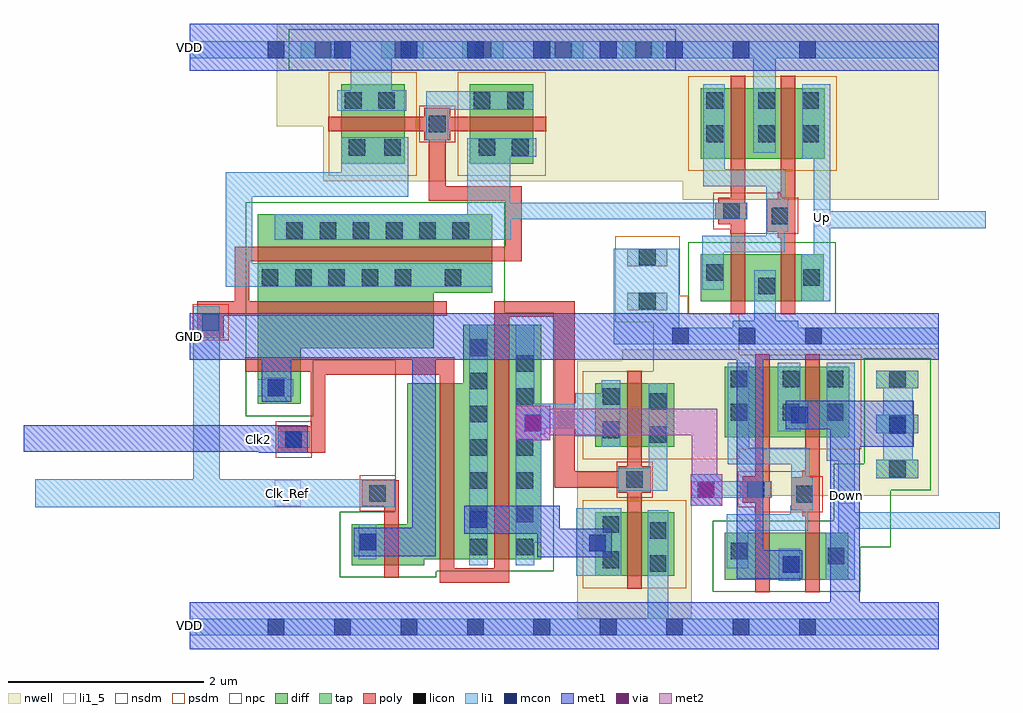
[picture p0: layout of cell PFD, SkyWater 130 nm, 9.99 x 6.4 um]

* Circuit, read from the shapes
.subckt PFD Clk2 Clk_Ref Down GND Up VDD
XM1 n1 Clk2 GND GND sky130_fd_pr__nfet_01v8 w=0.44 l=0.15
XM2 n2 Clk_Ref n1 GND sky130_fd_pr__nfet_01v8 w=1.8 l=0.15
XM3 n3 Clk_Ref n2 GND sky130_fd_pr__nfet_01v8 w=2.4 l=0.15
XM4 n4 Clk_Ref GND GND sky130_fd_pr__nfet_01v8 w=0.42 l=0.15
XM5 n5 Clk2 n4 GND sky130_fd_pr__nfet_01v8 w=1.8 l=0.15
XM6 n6 Clk2 n5 GND sky130_fd_pr__nfet_01v8 w=2.4 l=0.15
XM7 GND n3 n7 GND sky130_fd_pr__nfet_01v8 w=0.48 l=0.15
XM8 GND n6 n8 GND sky130_fd_pr__nfet_01v8 w=0.48 l=0.15
XM9 Up n7 GND GND sky130_fd_pr__nfet_01v8 w=0.48 l=0.15
XM10 Down n8 GND GND sky130_fd_pr__nfet_01v8 w=0.48 l=0.15
XM11 VDD Clk_Ref n2 VDD sky130_fd_pr__pfet_01v8 w=0.65 l=0.15
XM12 Clk_Ref Clk_Ref n3 VDD sky130_fd_pr__pfet_01v8 w=0.65 l=0.15
XM13 VDD Clk2 n5 VDD sky130_fd_pr__pfet_01v8 w=0.65 l=0.15
XM14 Clk2 Clk2 n6 VDD sky130_fd_pr__pfet_01v8 w=0.65 l=0.15
XM15 VDD n3 n7 VDD sky130_fd_pr__pfet_01v8 w=0.72 l=0.15
XM16 VDD n6 n8 VDD sky130_fd_pr__pfet_01v8 w=0.72 l=0.15
XM17 Up n7 VDD VDD sky130_fd_pr__pfet_01v8 w=0.72 l=0.15
XM18 Down n8 VDD VDD sky130_fd_pr__pfet_01v8 w=0.72 l=0.15
.ends

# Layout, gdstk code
import gdstk
lib = gdstk.Library(unit=1e-6, precision=1e-09)
def R(c, l, rs):  # rectangles x0, y0, x1, y1
    for r in rs: c.add(gdstk.rectangle(r[:2], r[2:], *l))
def A(c, l, x, y, w, h, nx, ny, dx, dy):  # array of equal rectangles
    R(c, l, [(x+i*dx, y+j*dy, x+i*dx+w, y+j*dy+h) for i in range(nx) for j in range(ny)])
nwell = (64, 20)
diff = (65, 20)
tap = (65, 44)
poly = (66, 20)
licon = (66, 44)
li1_5 = (67, 5)
li1 = (67, 20)
mcon = (67, 44)
met1 = (68, 20)
via = (68, 44)
met2 = (69, 20)
nsdm = (93, 44)
psdm = (94, 20)
npc = (95, 20)

pfd = lib.new_cell('PFD')
R(pfd, nwell, [(3.97,0.31,5.14,1.57), (3.97,1.57,7.67,2.95), (4.43,2.95,7.67,3.07), (6.77,3.07,7.67,3.08), (5.05,4.6,7.67,4.79), (1.37,4.79,7.67,5.35), (0.89,5.35,7.67,6.4)])
R(pfd, diff, [(5.48,0.71,6.74,1.19), (4.15,0.75,4.96,1.4), (1.66,0.86,2.4,0.92), (1.66,0.92,3.6,1.28), (2.23,1.28,3.6,2.72), (4.15,2.07,4.96,2.72), (5.48,2.17,6.75,2.89), (0.7,2.51,1.14,3.08), (2.8,2.72,3.6,3.32), (0.7,3.08,2.5,3.65), (5.23,3.56,6.49,4.04), (0.7,3.65,3.1,4.45), (1.55,4.97,2.2,5.78), (2.87,4.97,3.52,5.78), (5.23,5.02,6.5,5.74)])
R(pfd, tap, [(7.03,1.75,7.46,1.94), (7.03,2.21,7.46,2.4), (7.03,2.67,7.46,2.85), (4.48,3.47,4.89,3.65), (4.48,3.92,4.89,4.1), (1.14,6.05,1.57,6.22), (1.96,6.05,2.39,6.22), (2.79,6.05,3.21,6.22), (3.59,6.05,4.03,6.22), (4.43,6.05,4.85,6.22)])
R(pfd, poly, [(5.79,0.58,5.94,1.5), (6.3,0.58,6.45,1.36), (4.48,0.62,4.63,1.6), (2.56,0.68,3.27,0.83), (1.99,0.73,2.14,1.46), (2.56,0.83,2.71,2.81), (3.12,0.83,3.27,3.4), (6.27,1.36,6.45,1.42), (6.16,1.42,6.45,1.76), (1.76,1.46,2.14,1.73), (5.66,1.5,5.94,1.55), (5.63,1.55,5.95,1.72), (4.39,1.6,4.72,1.65), (3.74,1.65,4.72,1.82), (5.66,1.72,5.94,1.77), (6.27,1.76,6.45,1.83), (5.79,1.77,5.94,3.02), (3.74,1.82,3.94,3.4), (4.39,1.82,4.72,1.87), (6.3,1.83,6.45,3.02), (4.48,1.87,4.63,2.85), (0.9,2.01,1.39,2.28), (1.24,2.28,1.39,2.81), (1.24,2.81,2.71,2.84), (0.57,2.84,2.71,2.99), (0.08,3.18,0.35,3.41), (3.12,3.4,3.94,3.56), (0.08,3.41,2.63,3.56), (5.54,3.43,5.69,4.35), (6.05,3.43,6.2,4.21), (0.46,3.56,0.61,3.97), (0.46,3.97,3.4,4.12), (3.23,4.12,3.4,4.59), (6.02,4.21,6.2,4.27), (5.91,4.27,6.2,4.61), (5.41,4.35,5.69,4.4), (5.38,4.4,5.7,4.57), (5.41,4.57,5.69,4.62), (2.45,4.59,3.4,4.74), (6.02,4.61,6.2,4.68), (5.54,4.62,5.69,5.87), (6.05,4.68,6.2,5.87), (2.45,4.74,2.62,5.21), (2.4,5.21,2.67,5.3), (1.42,5.3,3.65,5.45), (2.4,5.45,2.67,5.54)])
A(pfd, licon, 2.87, 0.96, 0.17, 0.17, 1, 7, 0, 0.34)
A(pfd, licon, 3.35, 0.96, 0.17, 0.17, 1, 4, 0, 0.34)
A(pfd, licon, 7.16, 1.76, 0.17, 0.17, 1, 3, 0, 0.46)
A(pfd, licon, 0.74, 3.72, 0.17, 0.17, 5, 1, 0.34, 0)
A(pfd, licon, 0.99, 4.2, 0.17, 0.17, 6, 1, 0.34, 0)
A(pfd, licon, 1.28, 6.05, 0.17, 0.17, 5, 1, 0.82, 0)
R(pfd, licon, [(6.07,0.78,6.24,0.95), (4.71,0.79,4.88,0.96), (4.23,0.83,4.4,1), (6.53,0.87,6.7,1.04), (5.54,0.92,5.71,1.09), (1.74,1.01,1.91,1.18), (4.71,1.13,4.88,1.3), (4.23,1.19,4.4,1.36), (6.21,1.5,6.38,1.67), (1.84,1.51,2.01,1.68), (5.71,1.55,5.88,1.72), (4.47,1.65,4.64,1.82), (0.98,2.06,1.15,2.23), (4.71,2.11,4.88,2.28), (4.23,2.16,4.4,2.33), (5.54,2.34,5.71,2.51), (6.07,2.34,6.24,2.51), (6.52,2.34,6.69,2.51), (4.71,2.45,4.88,2.62), (3.35,2.5,3.52,2.67), (4.23,2.5,4.4,2.67), (0.8,2.59,0.97,2.76), (5.54,2.68,5.71,2.85), (6.07,2.68,6.24,2.85), (6.52,2.68,6.69,2.85), (3.35,2.84,3.52,3.01), (0.13,3.26,0.3,3.43), (4.6,3.48,4.77,3.65), (5.82,3.63,5.99,3.8), (2.61,3.72,2.78,3.89), (6.28,3.72,6.45,3.89), (5.29,3.77,5.46,3.94), (4.6,3.93,4.77,4.1), (5.96,4.35,6.13,4.52), (5.46,4.4,5.63,4.57), (1.63,5.05,1.8,5.22), (1.99,5.05,2.16,5.22), (2.96,5.05,3.13,5.22), (3.3,5.05,3.47,5.22), (5.29,5.19,5.46,5.36), (5.82,5.19,5.99,5.36), (6.27,5.19,6.44,5.36), (2.45,5.29,2.62,5.46), (1.59,5.53,1.76,5.7), (1.93,5.53,2.1,5.7), (2.91,5.53,3.08,5.7), (3.25,5.53,3.42,5.7), (5.29,5.53,5.46,5.7), (5.82,5.53,5.99,5.7), (6.27,5.53,6.44,5.7)])
R(pfd, li1_5, [(0.87,1.46,1.14,1.73), (6.64,1.49,6.81,1.66), (6.39,4.33,6.56,4.5)])
R(pfd, li1, [(0,0.14,7.67,0.31), (4.69,0.31,4.9,1.42), (6.03,0.7,6.25,1.03), (6.51,0.71,6.81,1.19), (3.96,0.75,4.42,1.44), (5.5,0.83,5.72,1.21), (2.86,0.86,3.05,3.32), (3.34,0.86,3.53,1.09), (1.73,0.92,1.91,1.28), (3.34,1.09,3.6,2.2), (6.64,1.19,6.81,1.23), (5.5,1.21,6.33,1.38), (6.64,1.23,8.29,1.4), (6.15,1.38,6.33,1.42), (6.64,1.4,6.81,1.93), (6.15,1.42,6.38,1.47), (-1.58,1.45,2.1,1.74), (6.16,1.47,6.38,1.76), (5.14,1.55,5.96,1.72), (4.39,1.62,4.89,1.85), (0.04,1.74,0.31,3.51), (7.03,1.75,7.46,1.94), (6.16,1.76,6.35,1.89), (4.7,1.85,4.89,2.72), (5.51,1.89,6.35,2.06), (6.52,1.93,6.81,2.93), (7.1,1.94,7.4,2.21), (0.9,2.06,1.23,2.23), (5.51,2.06,5.73,2.93), (4.22,2.07,4.41,2.18), (3.95,2.18,4.41,2.26), (3.34,2.2,3.64,2.26), (7.03,2.21,7.46,2.4), (6.02,2.23,6.25,2.25), (6.02,2.25,6.33,2.54), (3.34,2.26,4.41,2.51), (7.1,2.4,7.4,2.67), (0.78,2.51,0.99,2.59), (3.34,2.51,3.53,3.32), (3.95,2.51,4.41,2.62), (6.02,2.54,6.25,2.93), (0.7,2.59,1.06,2.76), (4.22,2.62,4.41,2.75), (7.03,2.67,7.46,2.85), (0.78,2.76,0.99,2.78), (4.34,3.12,7.67,3.29), (4.34,3.29,5.01,4.1), (5.56,3.29,6.23,3.36), (5.78,3.36,6,3.88), (6.26,3.56,6.56,4.04), (5.25,3.68,5.47,4.06), (0.37,3.71,3.1,3.95), (0.37,3.95,0.64,4.63), (6.39,4.04,6.56,4.31), (5.25,4.06,6.09,4.23), (0.87,4.19,3.29,4.4), (5.9,4.23,6.09,4.27), (5.9,4.27,6.13,4.61), (6.39,4.31,8.15,4.48), (0.87,4.4,5.71,4.45), (2.84,4.45,5.71,4.57), (6.39,4.48,6.56,5.02), (2.84,4.57,3.28,5.04), (5.9,4.61,6.1,4.74), (0.37,4.63,2.24,4.88), (5.26,4.74,6.1,4.91), (1.55,4.88,2.24,5.24), (5.26,4.91,5.48,5.78), (6.27,5.02,6.56,5.78), (2.84,5.04,3.55,5.23), (5.77,5.08,6,6.05), (2.42,5.21,2.65,5.52), (1.51,5.51,2.22,5.72), (2.42,5.52,3.52,5.71), (1.65,5.72,2.07,6.05), (0,6.05,7.67,6.22)])
A(pfd, mcon, 0.8, 0.14, 0.17, 0.17, 9, 2, 0.68, 5.91)
A(pfd, mcon, 4.94, 3.12, 0.17, 0.17, 3, 1, 0.68, 0)
R(pfd, mcon, [(6.07,0.78,6.24,0.95), (4.09,1,4.26,1.17), (1.74,1.01,1.91,1.18), (2.87,1.24,3.04,1.41), (5.2,1.55,5.37,1.72), (0.98,2.06,1.15,2.23), (7.16,2.205,7.33,2.375), (3.43,2.23,3.6,2.4), (6.16,2.31,6.33,2.48), (0.8,2.59,0.97,2.76)])
A(pfd, met1, 0, 0, 7.67, 0.48, 1, 3, 0, 2.96)
R(pfd, met1, [(6.56,0.48,6.86,2.07), (5.6,0.72,6.27,1.01), (3.56,0.94,4.32,1.18), (1.68,0.95,2.52,1.24), (5.6,1.01,5.87,2.96), (2.81,1.18,4.32,1.23), (2.81,1.23,3.79,1.47), (2.28,1.24,2.52,2.96), (5.13,1.47,5.45,1.79), (0.71,2.01,1.21,2.02), (-1.7,2.02,1.21,2.29), (6.56,2.07,7.41,2.25), (3.34,2.14,3.69,2.49), (6.1,2.25,7.41,2.54), (0.74,2.53,1.04,2.96)])
R(pfd, via, [(5.215,1.555,5.365,1.705), (3.44,2.24,3.59,2.39)])
R(pfd, met2, [(5.13,1.47,5.45,1.79), (5.14,1.79,5.4,2.19), (3.34,2.14,3.69,2.19), (3.34,2.19,5.4,2.46), (3.34,2.46,3.69,2.49)])
R(pfd, nsdm, [(5.355,0.585,6.865,1.045), (1.535,0.735,2.525,0.795), (1.535,0.795,3.725,1.405), (5.355,1.045,7.175,1.315), (6.595,1.315,7.175,1.625), (2.105,1.405,3.725,2.955), (6.595,1.625,7.585,1.895), (6.905,1.895,7.585,2.975), (0.575,2.385,1.265,2.955), (0.575,2.955,3.725,3.445), (5.105,3.435,6.615,4.165), (0.575,3.445,3.225,4.575), (1.015,5.925,4.975,6.345)])
R(pfd, psdm, [(4.025,0.625,5.085,1.525), (4.025,1.945,5.625,2.045), (4.025,2.045,6.875,2.845), (4.745,2.845,6.875,3.015), (4.745,3.015,5.625,3.345), (4.355,3.345,5.625,3.435), (4.355,3.435,5.105,3.615), (4.355,3.615,5.015,4.225), (1.425,4.845,2.325,5.905), (2.745,4.845,3.645,5.905), (5.105,4.895,6.625,5.865)])
R(pfd, npc, [(5.785,1.4,6.48,1.45), (1.74,1.41,2.11,1.78), (5.61,1.45,6.48,1.77), (4.37,1.55,4.74,1.92), (5.61,1.77,6.305,1.82), (0.88,1.96,1.25,2.33), (0.03,3.16,0.4,3.53), (5.535,4.25,6.23,4.3), (5.36,4.3,6.23,4.62), (5.36,4.62,6.055,4.67), (2.35,5.19,2.72,5.56)])
pfd.add(gdstk.Label('Clk_Ref', (1.005,1.595), layer=67, texttype=5))
pfd.add(gdstk.Label('Up', (6.475,4.415), layer=67, texttype=5))
pfd.add(gdstk.Label('Down', (6.725,1.575), layer=67, texttype=5))
pfd.add(gdstk.Label('Clk2', (0.71,2.15), layer=68, texttype=5))
pfd.add(gdstk.Label('GND', (0,3.2), layer=68, texttype=5))
pfd.add(gdstk.Label('VDD', (0,6.16), layer=68, texttype=5))
pfd.add(gdstk.Label('VDD', (0,0.24), layer=68, texttype=5))

lib.write_gds('PFD.gds')
